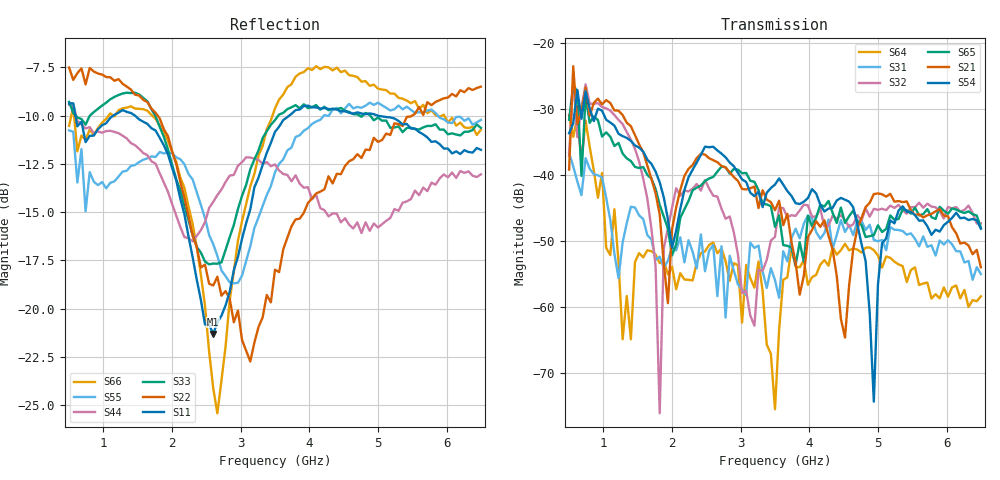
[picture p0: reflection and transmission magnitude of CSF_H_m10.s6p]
!Keysight Technologies,M9804A,MY58100912,A.14.10.03
!Date: Thursday, April 27, 2023 10:28:33
!Correction: S11(C  6-Port  )
!S12(C  6-Port  )
!S13(C  6-Port  )
!S14(C  6-Port  )
!S15(C  6-Port  )
!S16(C  6-Port  )
!S21(C  6-Port  )
!S22(C  6-Port  )
!S23(C  6-Port  )
!S24(C  6-Port  )
!S25(C  6-Port  )
!S26(C  6-Port  )
!S31(C  6-Port  )
!S32(C  6-Port  )
!S33(C  6-Port  )
!S34(C  6-Port  )
!S35(C  6-Port  )
!S36(C  6-Port  )
!S41(C  6-Port  )
!S42(C  6-Port  )
!S43(C  6-Port  )
!S44(C  6-Port  )
!S45(C  6-Port  )
!S46(C  6-Port  )
!S51(C  6-Port  )
!S52(C  6-Port  )
!S53(C  6-Port  )
!S54(C  6-Port  )
!S55(C  6-Port  )
!S56(C  6-Port  )
!S61(C  6-Port  )
!S62(C  6-Port  )
!S63(C  6-Port  )
!S64(C  6-Port  )
!S65(C  6-Port  )
!S66(C  6-Port  )
!S6P File: Measurement: :
# Hz S  RI  R 50
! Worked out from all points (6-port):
!   101 points, 500 MHz to 6.5 GHz, reference 50 ohm
!   strongest paths, dB at 500 MHz, 2 GHz, 3.5 GHz, 5 GHz, 6.5 GHz:
!     S54: -33.7, -51.1, -41.5, -56.7, -48.2
!     S21: -39.2, -48.3, -45.4, -42.8, -54.0
!     S65: -31.7, -52.2, -47.9, -47.7, -48.0
!     S32: -37.2, -45.0, -49.4, -45.3, -47.4
!     S31: -36.7, -51.0, -56.0, -50.1, -55.1
!     S64: -31.0, -53.9, -75.5, -52.2, -58.4
!   lowest |S11| = -21.3 dB at 2.6 GHz (marker M1), VSWR 1.19, Z = 42.4 + j2.3 ohm
!   |S11| at or under -10 dB: 592 MHz to 1.145 GHz (553.5 MHz wide, 63.7 % of centre); 1.46 GHz to 3.708 GHz (2.248 GHz wide, 87 % of centre); 4.994 GHz to end of sweep
